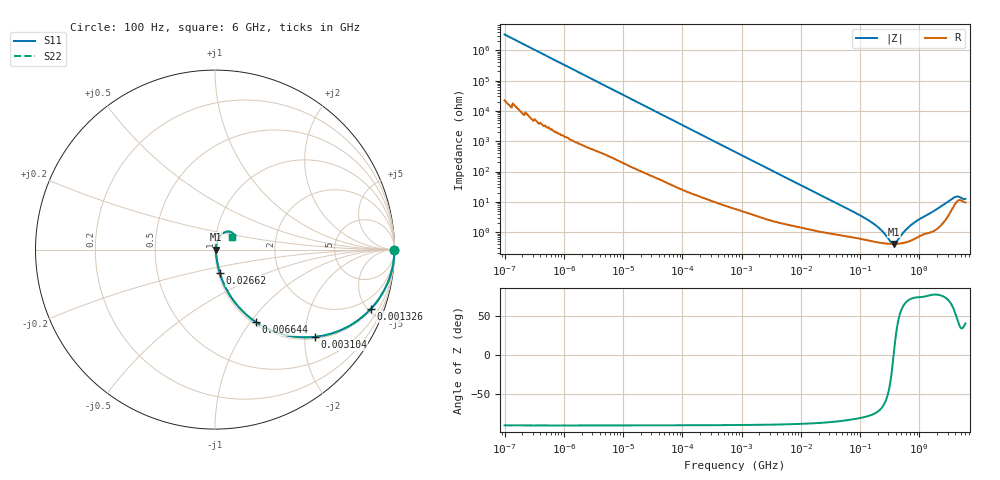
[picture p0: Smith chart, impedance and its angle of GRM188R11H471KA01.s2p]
!Murata Part Number: GRM188R11H471KA01
!These Parameters are Measured in Series Mode Connection
!Data Generated on Mar 30, 2021
!  o--ll--o
!Port1  Port2
!  o------o
!Operation Temp=25[degC], DC Bias Voltage=0[V]
!Freq. Start=100[Hz] Stop=6[GHz] 401[Steps]
# Hz S RI R 50
!Freq.(Hz) S11(Real) S11(Imag) S21(Real) S21(Imag) S12(Real) S12(Imag) S22(Real) S22(Imag)
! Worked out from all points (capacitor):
!   401 points, 100 Hz to 6 GHz, reference 50 ohm
!   read as one part in series: C = 476 pF near 109 Hz
!   lowest |Z| = 410 mohm at 373.7 MHz (marker M1)
!   series resonance near 368.5 MHz, so ESL is about 390 pH
!   S11 on the Smith chart (normalised r, x): 100 Hz: open; 1.326 MHz: 1.08, -5.23; 3.104 MHz: 1.05, -2.25; 6.644 MHz: 1.03, -1.06; 26.62 MHz: 1.02, -0.27; 6 GHz: 1.19, +0.16
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100  1 -3e-05  2e-07 3e-05  2e-07 3e-05  1 -3e-05
335  1 -0.0001  5e-07 0.0001  5e-07 0.0001  1 -0.0001
2008  1 -0.000597  3.1e-06 0.000597  3.1e-06 0.000597  1 -0.000597
40335  0.9998 -0.0119  0.00022 0.0119  0.00022 0.0119  0.9998 -0.0119
241822  0.9944 -0.0701  0.00559 0.0701  0.00559 0.0701  0.9944 -0.0701
774597  0.9495 -0.2126  0.0505 0.2126  0.0505 0.2126  0.9495 -0.2126
1325623  0.8684 -0.3302  0.1316 0.3302  0.1316 0.3302  0.8684 -0.3302
1983483  0.7506 -0.4237  0.2494 0.4237  0.2494 0.4237  0.7506 -0.4237
3103719  0.5573 -0.4861  0.4427 0.4861  0.4427 0.4861  0.5573 -0.4861
6644369  0.2263 -0.4029  0.7737 0.4029  0.7737 0.4029  0.2263 -0.4029
1.555665e7  0.0597 -0.2128  0.9403 0.2128  0.9403 0.2128  0.0597 -0.2128
2.662322e7  0.0268 -0.13  0.9732 0.13  0.9732 0.13  0.0268 -0.13
1.526266e8  0.0055 -0.021  0.9945 0.021  0.9945 0.021  0.0055 -0.021
2.283698e8  0.00448 -0.0107  0.9955 0.0107  0.9955 0.0107  0.00448 -0.0107
3.124326e8  0.00411 -0.00361  0.9959 0.00361  0.9959 0.00361  0.00411 -0.00361
3.737127e8  0.00407 0.000315  0.9959 -0.000315  0.9959 -0.000315  0.00407 0.000315
4.087225e8  0.0041 0.00229  0.9959 -0.00229  0.9959 -0.00229  0.0041 0.00229
5.847788e8  0.00465 0.0106  0.9953 -0.0106  0.9953 -0.0106  0.00465 0.0106
8.000355e8  0.00606 0.0188  0.9939 -0.0188  0.9939 -0.0188  0.00606 0.0188
3.352442e9  0.0533 0.0964  0.9467 -0.0964  0.9467 -0.0964  0.0533 0.0964
4.193612e9  0.0967 0.0937  0.9033 -0.0937  0.9033 -0.0937  0.0967 0.0937
6e9  0.0922 0.0678  0.9078 -0.0678  0.9078 -0.0678  0.0922 0.0678
